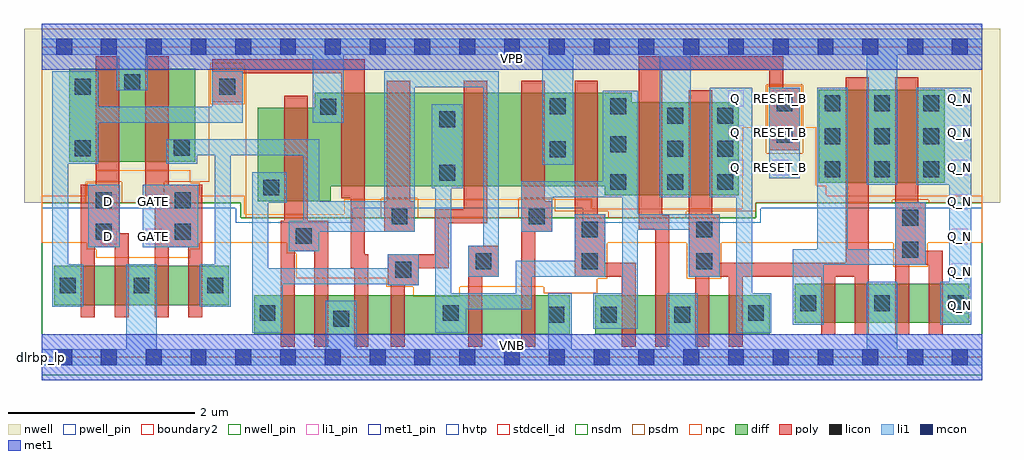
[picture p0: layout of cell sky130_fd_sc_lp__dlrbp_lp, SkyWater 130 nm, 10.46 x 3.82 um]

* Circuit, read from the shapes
.subckt sky130_fd_sc_lp__dlrbp_lp D GATE Q Q_N RESET_B VGND VNB VPB VPWR
XM1 n1 D n2 VNB sky130_fd_pr__nfet_01v8 w=0.42 l=0.15
XM2 VGND D n1 VNB sky130_fd_pr__nfet_01v8 w=0.42 l=0.15
XM3 n3 GATE VGND VNB sky130_fd_pr__nfet_01v8 w=0.42 l=0.15
XM4 n4 GATE n3 VNB sky130_fd_pr__nfet_01v8 w=0.42 l=0.15
XM5 n5 n4 n6 VNB sky130_fd_pr__nfet_01v8 w=0.42 l=0.15
XM6 VGND n4 n5 VNB sky130_fd_pr__nfet_01v8 w=0.42 l=0.15
XM7 n7 n2 VGND VNB sky130_fd_pr__nfet_01v8 w=0.42 l=0.15
XM8 n8 n6 n7 VNB sky130_fd_pr__nfet_01v8 w=0.42 l=0.15
XM9 n9 n4 n8 VNB sky130_fd_pr__nfet_01v8 w=0.42 l=0.15
XM10 VGND n10 n9 VNB sky130_fd_pr__nfet_01v8 w=0.42 l=0.15
XM11 n11 n8 n10 VNB sky130_fd_pr__nfet_01v8 w=0.42 l=0.15
XM12 VGND RESET_B n11 VNB sky130_fd_pr__nfet_01v8 w=0.42 l=0.15
XM13 n12 n10 VGND VNB sky130_fd_pr__nfet_01v8 w=0.42 l=0.15
XM14 Q n10 n12 VNB sky130_fd_pr__nfet_01v8 w=0.42 l=0.15
XM15 n13 n10 n14 VNB sky130_fd_pr__nfet_01v8 w=0.42 l=0.15
XM16 VGND n10 n13 VNB sky130_fd_pr__nfet_01v8 w=0.42 l=0.15
XM17 n15 n14 VGND VNB sky130_fd_pr__nfet_01v8 w=0.42 l=0.15
XM18 Q_N n14 n15 VNB sky130_fd_pr__nfet_01v8 w=0.42 l=0.15
XM19 VPWR D n2 VPB sky130_fd_pr__pfet_01v8_hvt w=1 l=0.25
XM20 n4 GATE VPWR VPB sky130_fd_pr__pfet_01v8_hvt w=1 l=0.25
XM21 VPWR n4 n6 VPB sky130_fd_pr__pfet_01v8_hvt w=1 l=0.25
XM22 n16 n2 VPWR VPB sky130_fd_pr__pfet_01v8_hvt w=1 l=0.25
XM23 n8 n4 n16 VPB sky130_fd_pr__pfet_01v8_hvt w=1 l=0.25
XM24 n17 n6 n8 VPB sky130_fd_pr__pfet_01v8_hvt w=1 l=0.25
XM25 VPWR n10 n17 VPB sky130_fd_pr__pfet_01v8_hvt w=1 l=0.25
XM26 n10 n8 VPWR VPB sky130_fd_pr__pfet_01v8_hvt w=1 l=0.25
XM27 VPWR RESET_B n10 VPB sky130_fd_pr__pfet_01v8_hvt w=1 l=0.25
XM28 Q n10 VPWR VPB sky130_fd_pr__pfet_01v8_hvt w=1 l=0.25
XM29 VPWR n10 n14 VPB sky130_fd_pr__pfet_01v8_hvt w=1 l=0.25
XM30 Q_N n14 VPWR VPB sky130_fd_pr__pfet_01v8_hvt w=1 l=0.25
.ends

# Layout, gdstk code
import gdstk
lib = gdstk.Library(unit=1e-6, precision=1e-09)
def R(c, l, rs):  # rectangles x0, y0, x1, y1
    for r in rs: c.add(gdstk.rectangle(r[:2], r[2:], *l))
def A(c, l, x, y, w, h, nx, ny, dx, dy):  # array of equal rectangles
    R(c, l, [(x+i*dx, y+j*dy, x+i*dx+w, y+j*dy+h) for i in range(nx) for j in range(ny)])
def P(c, l, *ps):  # polygons
    for p in ps: c.add(gdstk.Polygon(p, *l))
nwell_pin = (64, 16)
nwell = (64, 20)
diff = (65, 20)
poly = (66, 20)
licon = (66, 44)
li1_pin = (67, 16)
li1 = (67, 20)
mcon = (67, 44)
met1_pin = (68, 16)
met1 = (68, 20)
hvtp = (78, 44)
stdcell_id = (81, 4)
nsdm = (93, 44)
psdm = (94, 20)
npc = (95, 20)
pwell_pin = (122, 16)
boundary2 = (236, 0)

sky130_fd_sc_lp__dlrbp_l = lib.new_cell('sky130_fd_sc_lp__dlrbp_lp')
R(sky130_fd_sc_lp__dlrbp_l, nwell_pin, [(0,3.085,10.08,3.33)])
P(sky130_fd_sc_lp__dlrbp_l, nwell, [(10.27,3.52),(-0.19,3.52),(-0.19,1.655),(2.135,1.655),(2.135,1.495),(7.65,1.495),(7.65,1.655),(10.27,1.655)])
R(sky130_fd_sc_lp__dlrbp_l, diff, [(2.275,0.245,5.66,0.665), (5.93,0.245,7.8,0.665), (8.07,0.37,9.94,0.79), (0.135,0.56,2.005,0.98), (8.33,1.87,9.68,2.87), (0.295,2.095,1.645,3.095)])
P(sky130_fd_sc_lp__dlrbp_l, diff, [(7.47,2.735),(6.325,2.735),(6.325,2.835),(2.925,2.835),(2.925,2.675),(2.315,2.675),(2.315,1.675),(3.1,1.675),(3.1,1.835),(6.035,1.835),(6.035,1.735),(7.47,1.735)])
P(sky130_fd_sc_lp__dlrbp_l, poly, [(0.93,1.33),(0.83,1.33),(0.83,3.225),(0.58,3.225),(0.58,1.85),(0.42,1.85),(0.42,0.43),(0.57,0.43),(0.57,1.18),(0.78,1.18),(0.78,0.43),(0.93,0.43)],
  [(1.72,1.85),(1.36,1.85),(1.36,3.225),(1.11,3.225),(1.11,1.7),(1.21,1.7),(1.21,0.43),(1.36,0.43),(1.36,1.18),(1.57,1.18),(1.57,0.43),(1.72,0.43)],
  [(3.07,1.465),(2.85,1.465),(2.85,2.805),(2.6,2.805),(2.6,1.465),(2.56,1.465),(2.56,0.115),(2.71,0.115),(2.71,1.135),(2.92,1.135),(2.92,0.115),(3.07,0.115)],
  [(3.5,1.105),(3.46,1.105),(3.46,3.195),(1.825,3.195),(1.825,2.735),(2.155,2.735),(2.155,3.045),(3.21,3.045),(3.21,1.705),(3.31,1.705),(3.31,0.955),(3.35,0.955),(3.35,0.115),(3.5,0.115)],
  [(4,1.675),(3.95,1.675),(3.95,2.965),(3.7,2.965),(3.7,1.675),(3.67,1.675),(3.67,1.345),(4,1.345)],
  [(4.775,2.965),(4.525,2.965),(4.525,1.585),(4.21,1.585),(4.21,1.105),(3.71,1.105),(3.71,0.775),(3.74,0.775),(3.74,0.115),(3.89,0.115),(3.89,0.775),(4.04,0.775),(4.04,0.955),(4.36,0.955),(4.36,1.435),(4.775,1.435)],
  [(4.9,1.195),(4.57,1.195),(4.57,0.115),(4.72,0.115),(4.72,0.865),(4.9,0.865)],
  [(5.47,1.675),(5.39,1.675),(5.39,2.965),(5.14,2.965),(5.14,0.115),(5.29,0.115),(5.29,1.345),(5.47,1.345)],
  [(6.365,1.015),(6.04,1.015),(6.04,1.535),(5.96,1.535),(5.96,2.965),(5.71,2.965),(5.71,0.865),(6.215,0.865),(6.215,0.115),(6.365,0.115)],
  [(8.125,2.89),(7.945,2.89),(7.945,3.225),(6.4,3.225),(6.4,1.375),(6.575,1.375),(6.575,0.115),(6.725,0.115),(6.725,1.525),(6.65,1.525),(6.65,3.075),(7.795,3.075),(7.795,2.22),(8.125,2.22)],
  [(8.865,3),(8.615,3),(8.615,1.015),(7.265,1.015),(7.265,1.535),(7.185,1.535),(7.185,2.865),(6.935,2.865),(6.935,0.865),(7.005,0.865),(7.005,0.115),(7.155,0.115),(7.155,0.865),(7.365,0.865),(7.365,0.115),(7.515,0.115),(7.515,0.865),(8.355,0.865),(8.355,0.24),(8.505,0.24),(8.505,0.865),(8.715,0.865),(8.715,0.24),(8.865,0.24)],
  [(9.655,1.14),(9.475,1.14),(9.475,1.66),(9.395,1.66),(9.395,3),(9.145,3),(9.145,0.24),(9.295,0.24),(9.295,0.99),(9.505,0.99),(9.505,0.24),(9.655,0.24)])
A(sky130_fd_sc_lp__dlrbp_l, licon, 8.13, 0.495, 0.17, 0.17, 3, 1, 0.79, 0)
A(sky130_fd_sc_lp__dlrbp_l, licon, 0.195, 0.685, 0.17, 0.17, 3, 1, 0.79, 0)
A(sky130_fd_sc_lp__dlrbp_l, licon, 6.095, 1.795, 0.17, 0.17, 1, 3, 0, 0.405)
A(sky130_fd_sc_lp__dlrbp_l, licon, 6.705, 1.795, 0.17, 0.17, 1, 3, 0, 0.355)
A(sky130_fd_sc_lp__dlrbp_l, licon, 7.24, 1.795, 0.17, 0.17, 1, 3, 0, 0.355)
A(sky130_fd_sc_lp__dlrbp_l, licon, 8.39, 1.93, 0.17, 0.17, 3, 3, 0.53, 0.355)
R(sky130_fd_sc_lp__dlrbp_l, licon, [(3.125,0.33,3.295,0.5), (5.43,0.37,5.6,0.54), (5.99,0.37,6.16,0.54), (6.78,0.37,6.95,0.54), (2.335,0.39,2.505,0.56), (4.3,0.39,4.47,0.56), (7.57,0.39,7.74,0.56), (3.79,0.855,3.96,1.025), (4.65,0.945,4.82,1.115), (5.79,0.945,5.96,1.115), (7.015,0.945,7.185,1.115), (9.225,1.07,9.395,1.24), (2.725,1.215,2.895,1.385), (0.58,1.26,0.75,1.43), (1.425,1.26,1.595,1.43), (5.79,1.285,5.96,1.455), (7.015,1.285,7.185,1.455), (9.225,1.41,9.395,1.58), (3.75,1.425,3.92,1.595), (5.22,1.425,5.39,1.595), (0.58,1.6,0.75,1.77), (1.425,1.6,1.595,1.77), (2.375,1.735,2.545,1.905), (4.26,1.895,4.43,2.065), (5.445,2.145,5.615,2.315), (0.355,2.155,0.525,2.325), (1.415,2.16,1.585,2.33), (7.875,2.3,8.045,2.47), (4.26,2.465,4.43,2.635), (2.985,2.6,3.155,2.77), (5.445,2.605,5.615,2.775), (7.875,2.64,8.045,2.81), (0.355,2.815,0.525,2.985), (1.905,2.815,2.075,2.985), (0.885,2.865,1.055,3.035)])
A(sky130_fd_sc_lp__dlrbp_l, li1_pin, 9.755, 0.47, 0.17, 0.17, 1, 7, 0, 0.37)
A(sky130_fd_sc_lp__dlrbp_l, li1_pin, 7.355, 1.95, 0.17, 0.17, 1, 3, 0, 0.37)
A(sky130_fd_sc_lp__dlrbp_l, li1_pin, 7.835, 1.95, 0.17, 0.17, 1, 3, 0, 0.37)
R(sky130_fd_sc_lp__dlrbp_l, li1_pin, [(0.635,1.21,0.805,1.38), (1.115,1.21,1.285,1.38), (0.635,1.58,0.805,1.75), (1.115,1.58,1.285,1.75)])
R(sky130_fd_sc_lp__dlrbp_l, li1, [(0.5,1.18,0.835,1.85), (1.085,1.18,1.675,1.85), (7.795,1.92,8.125,2.89)])
P(sky130_fd_sc_lp__dlrbp_l, li1, [(2.905,2.515),(2.905,3.245),(1.135,3.245),(1.135,2.865),(0.805,2.865),(0.805,3.245),(0,3.245),(0,3.415),(10.08,3.415),(10.08,3.245),(9.17,3.245),(9.17,1.85),(8.84,1.85),(8.84,3.245),(6.955,3.245),(6.955,1.715),(6.625,1.715),(6.625,3.245),(5.695,3.245),(5.695,2.065),(5.365,2.065),(5.365,3.245),(3.235,3.245),(3.235,2.515)],
  [(6.7,0.085),(6.7,0.685),(7.03,0.685),(7.03,0.085),(8.84,0.085),(8.84,0.81),(9.17,0.81),(9.17,0.085),(10.08,0.085),(10.08,-0.085),(0,-0.085),(0,0.085),(0.905,0.085),(0.905,1),(1.235,1),(1.235,0.085),(3.045,0.085),(3.045,0.605),(3.375,0.605),(3.375,0.085),(5.43,0.085),(5.43,0.685),(5.68,0.685),(5.68,0.085)],
  [(6.39,1.535),(7.265,1.535),(7.265,0.865),(6.935,0.865),(6.935,1.365),(6.39,1.365),(6.39,0.305),(5.91,0.305),(5.91,0.685),(6.22,0.685),(6.22,1.715),(5.47,1.715),(5.47,1.345),(5.14,1.345),(5.14,1.885),(6.015,1.885),(6.015,2.855),(6.39,2.855)],
  [(4.9,3.065),(4.9,0.865),(4.57,0.865),(4.57,1.195),(4.73,1.195),(4.73,2.895),(4,2.895),(4,1.345),(2.975,1.345),(2.975,1.135),(2.645,1.135),(2.645,1.465),(2.805,1.465),(2.805,2.165),(2.025,2.165),(2.025,0.54),(1.695,0.54),(1.695,1),(1.855,1),(1.855,2.165),(1.665,2.165),(1.665,2.075),(1.335,2.075),(1.335,2.335),(2.975,2.335),(2.975,1.675),(3.67,1.675),(3.67,3.065)],
  [(7.16,1.715),(7.16,2.89),(7.615,2.89),(7.615,0.685),(7.82,0.685),(7.82,0.265),(7.445,0.265),(7.445,1.715)],
  [(8.05,1.16),(8.31,1.16),(8.31,2.89),(8.64,2.89),(8.64,1.16),(9.145,1.16),(9.145,1.66),(9.475,1.66),(9.475,0.99),(8.38,0.99),(8.38,0.35),(8.05,0.35)],
  [(5.08,0.685),(5.08,1.035),(5.71,1.035),(5.71,1.535),(6.04,1.535),(6.04,0.865),(5.25,0.865),(5.25,0.515),(4.55,0.515),(4.55,0.265),(4.22,0.265),(4.22,1.815),(4.18,1.815),(4.18,2.715),(4.51,2.715),(4.51,1.815),(4.39,1.815),(4.39,0.685)],
  [(3.71,0.775),(3.71,0.785),(2.585,0.785),(2.585,0.265),(2.255,0.265),(2.255,1.985),(2.625,1.985),(2.625,1.655),(2.425,1.655),(2.425,0.955),(3.71,0.955),(3.71,1.105),(4.04,1.105),(4.04,0.775)],
  [(0.115,3.065),(0.605,3.065),(0.605,2.685),(1.825,2.685),(1.825,3.065),(2.155,3.065),(2.155,2.515),(0.605,2.515),(0.605,2.075),(0.285,2.075),(0.285,1),(0.445,1),(0.445,0.54),(0.115,0.54)],
  [(9.63,0.35),(9.63,0.81),(9.725,0.81),(9.725,1.85),(9.37,1.85),(9.37,2.89),(9.96,2.89),(9.96,0.35)])
A(sky130_fd_sc_lp__dlrbp_l, mcon, 0.155, -0.085, 0.17, 0.17, 21, 2, 0.48, 3.33)
R(sky130_fd_sc_lp__dlrbp_l, met1_pin, [(0,0,10.08,0.245), (0,3.085,10.08,3.33)])
R(sky130_fd_sc_lp__dlrbp_l, met1, [(0,-0.245,10.08,0.245), (0,3.085,10.08,3.575)])
P(sky130_fd_sc_lp__dlrbp_l, hvtp, [(10.08,3.33),(0,3.33),(0,1.6),(2.08,1.6),(2.08,1.44),(3.335,1.44),(3.335,1.6),(5.8,1.6),(5.8,1.44),(7.705,1.44),(7.705,1.6),(10.08,1.6)])
R(sky130_fd_sc_lp__dlrbp_l, stdcell_id, [(0,0,10.08,3.33)])
P(sky130_fd_sc_lp__dlrbp_l, nsdm, [(10.08,1.655),(7.65,1.655),(7.65,1.495),(2.135,1.495),(2.135,1.655),(0,1.655),(0,-0.19),(10.08,-0.19)])
P(sky130_fd_sc_lp__dlrbp_l, psdm, [(10.08,3.52),(8.155,3.52),(8.155,2.19),(7.765,2.19),(7.765,2.92),(8.155,2.92),(8.155,3.52),(0,3.52),(0,1.655),(0.47,1.655),(0.47,1.88),(0.86,1.88),(0.86,1.655),(1.315,1.655),(1.315,1.88),(1.795,1.88),(1.795,3.095),(2.185,3.095),(2.185,1.495),(3.64,1.495),(3.64,1.705),(4.03,1.705),(4.03,1.495),(5.11,1.495),(5.11,1.705),(5.5,1.705),(5.5,1.565),(6.07,1.565),(6.07,1.495),(6.905,1.495),(6.905,1.565),(7.65,1.565),(7.65,1.655),(9.115,1.655),(9.115,1.69),(9.505,1.69),(9.505,1.655),(10.08,1.655)])
R(sky130_fd_sc_lp__dlrbp_l, npc, [(1.805,2.715,2.175,3.155)])
P(sky130_fd_sc_lp__dlrbp_l, npc, [(10.08,1.73),(8.41,1.73),(8.41,1.84),(8.3,1.84),(8.3,2.465),(8.145,2.465),(8.145,2.91),(7.775,2.91),(7.775,2.465),(7.51,2.465),(7.51,1.595),(5.895,1.595),(5.895,1.695),(3.24,1.695),(3.24,1.535),(2.175,1.535),(2.175,1.73),(1.695,1.73),(1.695,1.87),(1.59,1.87),(1.59,2.005),(0.585,2.005),(0.585,1.87),(0.48,1.87),(0.48,1.73),(0,1.73),(0,1.23),(0.48,1.23),(0.48,1.16),(0.585,1.16),(0.585,1.07),(1.59,1.07),(1.59,1.16),(1.695,1.16),(1.695,1.23),(2.625,1.23),(2.625,1.115),(2.73,1.115),(2.73,0.85),(3.69,0.85),(3.69,0.755),(3.98,0.755),(3.98,0.65),(4.48,0.65),(4.48,0.755),(5.38,0.755),(5.38,0.685),(5.955,0.685),(5.955,0.845),(6.06,0.845),(6.06,1.23),(6.915,1.23),(6.915,0.845),(7.285,0.845),(7.285,1.23),(9.125,1.23),(9.125,0.97),(9.495,0.97),(9.495,1.23),(10.08,1.23)])
R(sky130_fd_sc_lp__dlrbp_l, pwell_pin, [(0,0,10.08,0.245)])
R(sky130_fd_sc_lp__dlrbp_l, boundary2, [(0,0,10.08,3.33)])
sky130_fd_sc_lp__dlrbp_l.add(gdstk.Label('VNB', (5.04,0.123), layer=64, texttype=59))
sky130_fd_sc_lp__dlrbp_l.add(gdstk.Label('VPB', (5.04,3.208), layer=64, texttype=5))
sky130_fd_sc_lp__dlrbp_l.add(gdstk.Label('dlrbp_lp', (0,0), layer=83, texttype=44))
sky130_fd_sc_lp__dlrbp_l.add(gdstk.Label('VPWR', (5.04,3.208), layer=68, texttype=5))
sky130_fd_sc_lp__dlrbp_l.add(gdstk.Label('VGND', (5.04,0.123), layer=68, texttype=5))
sky130_fd_sc_lp__dlrbp_l.add(gdstk.Label('D', (0.72,1.295), layer=67, texttype=5))
sky130_fd_sc_lp__dlrbp_l.add(gdstk.Label('D', (0.72,1.665), layer=67, texttype=5))
sky130_fd_sc_lp__dlrbp_l.add(gdstk.Label('RESET_B', (7.92,2.035), layer=67, texttype=5))
sky130_fd_sc_lp__dlrbp_l.add(gdstk.Label('RESET_B', (7.92,2.405), layer=67, texttype=5))
sky130_fd_sc_lp__dlrbp_l.add(gdstk.Label('RESET_B', (7.92,2.775), layer=67, texttype=5))
sky130_fd_sc_lp__dlrbp_l.add(gdstk.Label('GATE', (1.2,1.295), layer=67, texttype=5))
sky130_fd_sc_lp__dlrbp_l.add(gdstk.Label('GATE', (1.2,1.665), layer=67, texttype=5))
sky130_fd_sc_lp__dlrbp_l.add(gdstk.Label('Q', (7.44,2.035), layer=67, texttype=5))
sky130_fd_sc_lp__dlrbp_l.add(gdstk.Label('Q', (7.44,2.405), layer=67, texttype=5))
sky130_fd_sc_lp__dlrbp_l.add(gdstk.Label('Q', (7.44,2.775), layer=67, texttype=5))
sky130_fd_sc_lp__dlrbp_l.add(gdstk.Label('Q_N', (9.84,0.555), layer=67, texttype=5))
sky130_fd_sc_lp__dlrbp_l.add(gdstk.Label('Q_N', (9.84,0.925), layer=67, texttype=5))
sky130_fd_sc_lp__dlrbp_l.add(gdstk.Label('Q_N', (9.84,1.295), layer=67, texttype=5))
sky130_fd_sc_lp__dlrbp_l.add(gdstk.Label('Q_N', (9.84,1.665), layer=67, texttype=5))
sky130_fd_sc_lp__dlrbp_l.add(gdstk.Label('Q_N', (9.84,2.035), layer=67, texttype=5))
sky130_fd_sc_lp__dlrbp_l.add(gdstk.Label('Q_N', (9.84,2.405), layer=67, texttype=5))
sky130_fd_sc_lp__dlrbp_l.add(gdstk.Label('Q_N', (9.84,2.775), layer=67, texttype=5))

lib.write_gds('sky130_fd_sc_lp__dlrbp_lp.gds')
